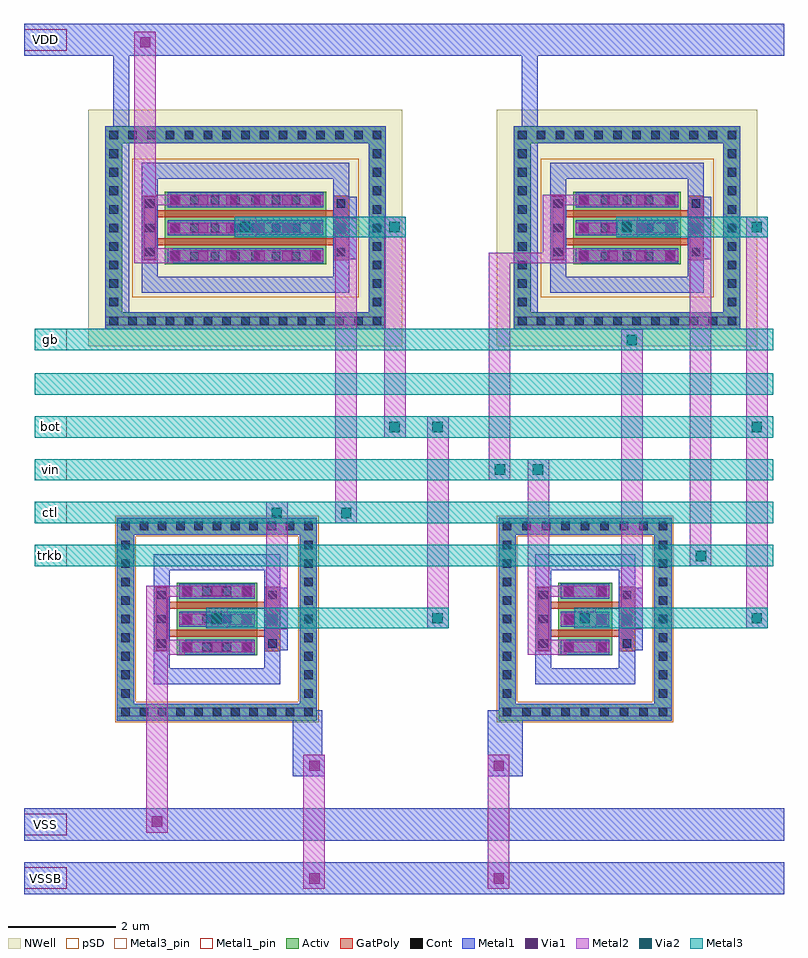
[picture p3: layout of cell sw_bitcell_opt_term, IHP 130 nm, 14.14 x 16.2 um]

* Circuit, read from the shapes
.subckt sw_bitcell_opt_term VDD VSS VSSB bot ctl gb trkb vin
XM1 bot ctl VSS VSSB sg13_lv_nmos w=1.5u l=0.13u m=2
XM2 bot gb vin VSSB sg13_lv_nmos w=1u l=0.13u m=2
XM3 bot ctl VDD VDD sg13_lv_pmos w=3u l=0.13u m=2
XM4 bot trkb vin VDD sg13_lv_pmos w=2u l=0.13u m=2
.ends

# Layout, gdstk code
import gdstk
lib = gdstk.Library(unit=1e-6, precision=1e-09)
def R(c, l, rs):  # rectangles x0, y0, x1, y1
    for r in rs: c.add(gdstk.rectangle(r[:2], r[2:], *l))
def A(c, l, x, y, w, h, nx, ny, dx, dy):  # array of equal rectangles
    R(c, l, [(x+i*dx, y+j*dy, x+i*dx+w, y+j*dy+h) for i in range(nx) for j in range(ny)])
def P(c, l, *ps):  # polygons
    for p in ps: c.add(gdstk.Polygon(p, *l))
Activ = (1, 0)
GatPoly = (5, 0)
Cont = (6, 0)
Metal1 = (8, 0)
Metal1_pin = (8, 2)
Metal2 = (10, 0)
pSD = (14, 0)
Via1 = (19, 0)
Via2 = (29, 0)
Metal3 = (30, 0)
Metal3_pin = (30, 2)
NWell = (31, 0)

rfnmos_5 = lib.new_cell('rfnmos$5')
R(rfnmos_5, Activ, [(1.14,1.245,2.64,2.595)])
P(rfnmos_5, Activ, [(0.03,0.03),(0.03,3.49),(0.35,3.49),(0.35,0.35),(3.43,0.35),(3.43,3.49),(0.03,3.49),(0.03,3.81),(3.75,3.81),(3.75,0.03)])
R(rfnmos_5, GatPoly, [(0.71,1.32,1.01,2.52), (2.77,1.32,3.07,2.52), (1.01,1.595,2.77,1.725), (1.01,2.115,2.77,2.245)])
A(rfnmos_5, Cont, 0.11, 0.11, 0.16, 0.16, 11, 2, 0.34, 3.46)
A(rfnmos_5, Cont, 0.11, 0.46, 0.16, 0.16, 1, 9, 0, 0.345)
A(rfnmos_5, Cont, 3.51, 0.46, 0.16, 0.16, 1, 9, 0, 0.345)
A(rfnmos_5, Cont, 1.24, 1.32, 0.16, 0.16, 4, 3, 0.38, 0.52)
A(rfnmos_5, Cont, 0.78, 1.39, 0.16, 0.16, 1, 3, 0, 0.45)
A(rfnmos_5, Cont, 2.84, 1.39, 0.16, 0.16, 1, 3, 0, 0.45)
A(rfnmos_5, Metal1, 1.19, 1.26, 1.4, 0.28, 1, 3, 0, 0.52)
R(rfnmos_5, Metal1, [(0.03,0.03,3.75,0.35), (0.03,0.35,0.35,3.49), (3.43,0.35,3.75,3.49), (0.76,1.34,0.96,2.5), (2.82,1.34,3.02,2.5), (0.03,3.49,3.75,3.81)])
P(rfnmos_5, Metal1, [(0.71,0.71),(0.71,2.83),(1.01,2.83),(1.01,1.01),(2.77,1.01),(2.77,2.83),(0.71,2.83),(0.71,3.13),(3.07,3.13),(3.07,0.71)])
R(rfnmos_5, Metal1_pin, [(0.03,0.11,3.75,0.27), (0.03,0.11,3.75,0.27), (1.19,1.26,2.59,1.54), (1.19,1.26,2.59,1.54), (0.76,1.34,0.96,2.5), (0.76,1.34,0.96,2.5), (1.19,1.78,2.59,2.06), (1.19,1.78,2.59,2.06)])
A(rfnmos_5, Metal2, 1.19, 1.3, 1.4, 0.2, 1, 3, 0, 0.52)
P(rfnmos_5, pSD, [(0,0),(0,3.46),(0.38,3.46),(0.38,0.38),(3.4,0.38),(3.4,3.46),(0,3.46),(0,3.84),(3.78,3.84),(3.78,0)])
A(rfnmos_5, Via1, 1.24, 1.305, 0.19, 0.19, 3, 3, 0.555, 0.52)
rfnmos_5.add(gdstk.Label('S', (1.89,1.42), layer=63, texttype=0))
rfnmos_5.add(gdstk.Label('D', (1.89,1.94), layer=63, texttype=0))
rfnmos_5.add(gdstk.Label('G', (0.86,1.92), layer=63, texttype=0))
rfnmos_5.add(gdstk.Label('TIE', (1.89,0.19), layer=63, texttype=0))
rfnmos_5.add(gdstk.Label('rfnmos', (1.89,3.65), layer=63, texttype=0))

rfpmos_4 = lib.new_cell('rfpmos$4')
R(rfpmos_4, Activ, [(1.42,1.525,4.42,2.875)])
P(rfpmos_4, Activ, [(0.31,0.31),(0.31,3.77),(0.63,3.77),(0.63,0.63),(5.21,0.63),(5.21,3.77),(0.31,3.77),(0.31,4.09),(5.53,4.09),(5.53,0.31)])
R(rfpmos_4, GatPoly, [(0.99,1.6,1.29,2.8), (4.55,1.6,4.85,2.8), (1.29,1.875,4.55,2.005), (1.29,2.395,4.55,2.525)])
A(rfpmos_4, Cont, 0.39, 0.39, 0.16, 0.16, 15, 2, 0.35, 3.46)
A(rfpmos_4, Cont, 0.39, 0.74, 0.16, 0.16, 1, 9, 0, 0.345)
A(rfpmos_4, Cont, 5.29, 0.74, 0.16, 0.16, 1, 9, 0, 0.345)
A(rfpmos_4, Cont, 1.52, 1.6, 0.16, 0.16, 3, 3, 0.375, 0.52)
A(rfpmos_4, Cont, 2.65, 1.6, 0.16, 0.16, 1, 3, 0, 0.52)
A(rfpmos_4, Cont, 3.025, 1.6, 0.16, 0.16, 1, 3, 0, 0.52)
A(rfpmos_4, Cont, 3.405, 1.6, 0.16, 0.16, 1, 3, 0, 0.52)
A(rfpmos_4, Cont, 3.78, 1.6, 0.16, 0.16, 1, 3, 0, 0.52)
A(rfpmos_4, Cont, 4.16, 1.6, 0.16, 0.16, 1, 3, 0, 0.52)
A(rfpmos_4, Cont, 1.06, 1.67, 0.16, 0.16, 1, 3, 0, 0.45)
A(rfpmos_4, Cont, 4.62, 1.67, 0.16, 0.16, 1, 3, 0, 0.45)
A(rfpmos_4, Metal1, 1.47, 1.54, 2.9, 0.28, 1, 3, 0, 0.52)
R(rfpmos_4, Metal1, [(0.31,0.31,5.53,0.63), (0.31,0.63,0.63,3.77), (5.21,0.63,5.53,3.77), (1.04,1.62,1.24,2.78), (4.6,1.62,4.8,2.78), (0.31,3.77,5.53,4.09)])
P(rfpmos_4, Metal1, [(0.99,0.99),(0.99,3.11),(1.29,3.11),(1.29,1.29),(4.55,1.29),(4.55,3.11),(0.99,3.11),(0.99,3.41),(4.85,3.41),(4.85,0.99)])
R(rfpmos_4, Metal1_pin, [(0.31,0.39,5.53,0.55), (0.31,0.39,5.53,0.55), (1.47,1.54,4.37,1.82), (1.47,1.54,4.37,1.82), (1.04,1.62,1.24,2.78), (1.04,1.62,1.24,2.78), (1.47,2.06,4.37,2.34), (1.47,2.06,4.37,2.34)])
A(rfpmos_4, Metal2, 1.47, 1.58, 2.9, 0.2, 1, 3, 0, 0.52)
R(rfpmos_4, pSD, [(0.81,0.91,5.03,3.49)])
A(rfpmos_4, Via1, 1.52, 1.585, 0.19, 0.19, 3, 3, 0.52, 0.52)
A(rfpmos_4, Via1, 3.085, 1.585, 0.19, 0.19, 1, 3, 0, 0.52)
A(rfpmos_4, Via1, 3.605, 1.585, 0.19, 0.19, 1, 3, 0, 0.52)
A(rfpmos_4, Via1, 4.13, 1.585, 0.19, 0.19, 1, 3, 0, 0.52)
R(rfpmos_4, NWell, [(0,0,5.84,4.4)])
rfpmos_4.add(gdstk.Label('S', (2.92,1.7), layer=63, texttype=0))
rfpmos_4.add(gdstk.Label('D', (2.92,2.22), layer=63, texttype=0))
rfpmos_4.add(gdstk.Label('G', (1.14,2.2), layer=63, texttype=0))
rfpmos_4.add(gdstk.Label('TIE', (2.92,0.47), layer=63, texttype=0))
rfpmos_4.add(gdstk.Label('rfpmos', (2.92,3.93), layer=63, texttype=0))

rfnmos_1_1 = lib.new_cell('rfnmos$1$1')
R(rfnmos_1_1, Activ, [(1.14,1.245,2.14,2.595)])
P(rfnmos_1_1, Activ, [(0.03,0.03),(0.03,3.49),(0.35,3.49),(0.35,0.35),(2.93,0.35),(2.93,3.49),(0.03,3.49),(0.03,3.81),(3.25,3.81),(3.25,0.03)])
R(rfnmos_1_1, GatPoly, [(0.71,1.32,1.01,2.52), (2.27,1.32,2.57,2.52), (1.01,1.595,2.27,1.725), (1.01,2.115,2.27,2.245)])
A(rfnmos_1_1, Cont, 0.11, 0.46, 0.16, 0.16, 1, 9, 0, 0.345)
A(rfnmos_1_1, Cont, 3.01, 0.46, 0.16, 0.16, 1, 9, 0, 0.345)
A(rfnmos_1_1, Cont, 1.24, 1.32, 0.16, 0.16, 1, 3, 0, 0.52)
A(rfnmos_1_1, Cont, 1.88, 1.32, 0.16, 0.16, 1, 3, 0, 0.52)
A(rfnmos_1_1, Cont, 0.78, 1.39, 0.16, 0.16, 1, 3, 0, 0.45)
A(rfnmos_1_1, Cont, 2.34, 1.39, 0.16, 0.16, 1, 3, 0, 0.45)
R(rfnmos_1_1, Cont, [(0.11,0.11,0.27,0.27), (0.47,0.11,0.63,0.27), (0.835,0.11,0.995,0.27), (1.195,0.11,1.355,0.27), (1.56,0.11,1.72,0.27), (1.92,0.11,2.08,0.27), (2.285,0.11,2.445,0.27), (2.645,0.11,2.805,0.27), (3.01,0.11,3.17,0.27), (0.11,3.57,0.27,3.73), (0.47,3.57,0.63,3.73), (0.835,3.57,0.995,3.73), (1.195,3.57,1.355,3.73), (1.56,3.57,1.72,3.73), (1.92,3.57,2.08,3.73), (2.285,3.57,2.445,3.73), (2.645,3.57,2.805,3.73), (3.01,3.57,3.17,3.73)])
A(rfnmos_1_1, Metal1, 1.19, 1.26, 0.9, 0.28, 1, 3, 0, 0.52)
R(rfnmos_1_1, Metal1, [(0.03,0.03,3.25,0.35), (0.03,0.35,0.35,3.49), (2.93,0.35,3.25,3.49), (0.76,1.34,0.96,2.5), (2.32,1.34,2.52,2.5), (0.03,3.49,3.25,3.81)])
P(rfnmos_1_1, Metal1, [(0.71,0.71),(0.71,2.83),(1.01,2.83),(1.01,1.01),(2.27,1.01),(2.27,2.83),(0.71,2.83),(0.71,3.13),(2.57,3.13),(2.57,0.71)])
R(rfnmos_1_1, Metal1_pin, [(0.03,0.11,3.25,0.27), (0.03,0.11,3.25,0.27), (1.19,1.26,2.09,1.54), (1.19,1.26,2.09,1.54), (0.76,1.34,0.96,2.5), (0.76,1.34,0.96,2.5), (1.19,1.78,2.09,2.06), (1.19,1.78,2.09,2.06)])
A(rfnmos_1_1, Metal2, 1.19, 1.3, 0.9, 0.2, 1, 3, 0, 0.52)
P(rfnmos_1_1, pSD, [(0,0),(0,3.46),(0.38,3.46),(0.38,0.38),(2.9,0.38),(2.9,3.46),(0,3.46),(0,3.84),(3.28,3.84),(3.28,0)])
A(rfnmos_1_1, Via1, 1.24, 1.305, 0.19, 0.19, 1, 3, 0, 0.52)
A(rfnmos_1_1, Via1, 1.85, 1.305, 0.19, 0.19, 1, 3, 0, 0.52)
rfnmos_1_1.add(gdstk.Label('S', (1.64,1.42), layer=63, texttype=0))
rfnmos_1_1.add(gdstk.Label('D', (1.64,1.94), layer=63, texttype=0))
rfnmos_1_1.add(gdstk.Label('G', (0.86,1.92), layer=63, texttype=0))
rfnmos_1_1.add(gdstk.Label('TIE', (1.64,0.19), layer=63, texttype=0))
rfnmos_1_1.add(gdstk.Label('rfnmos', (1.64,3.65), layer=63, texttype=0))

rfpmos_1_1 = lib.new_cell('rfpmos$1$1')
R(rfpmos_1_1, Activ, [(1.42,1.525,3.42,2.875)])
P(rfpmos_1_1, Activ, [(0.31,0.31),(0.31,3.77),(0.63,3.77),(0.63,0.63),(4.21,0.63),(4.21,3.77),(0.31,3.77),(0.31,4.09),(4.53,4.09),(4.53,0.31)])
R(rfpmos_1_1, GatPoly, [(0.99,1.6,1.29,2.8), (3.55,1.6,3.85,2.8), (1.29,1.875,3.55,2.005), (1.29,2.395,3.55,2.525)])
A(rfpmos_1_1, Cont, 0.74, 0.39, 0.16, 0.16, 11, 2, 0.355, 3.46)
A(rfpmos_1_1, Cont, 0.39, 0.74, 0.16, 0.16, 1, 9, 0, 0.345)
A(rfpmos_1_1, Cont, 4.29, 0.74, 0.16, 0.16, 1, 9, 0, 0.345)
A(rfpmos_1_1, Cont, 1.52, 1.6, 0.16, 0.16, 5, 3, 0.41, 0.52)
A(rfpmos_1_1, Cont, 1.06, 1.67, 0.16, 0.16, 1, 3, 0, 0.45)
A(rfpmos_1_1, Cont, 3.62, 1.67, 0.16, 0.16, 1, 3, 0, 0.45)
R(rfpmos_1_1, Cont, [(0.39,0.39,0.55,0.55), (0.39,3.85,0.55,4.01)])
A(rfpmos_1_1, Metal1, 1.47, 1.54, 1.9, 0.28, 1, 3, 0, 0.52)
R(rfpmos_1_1, Metal1, [(0.31,0.31,4.53,0.63), (0.31,0.63,0.63,3.77), (4.21,0.63,4.53,3.77), (1.04,1.62,1.24,2.78), (3.6,1.62,3.8,2.78), (0.31,3.77,4.53,4.09)])
P(rfpmos_1_1, Metal1, [(0.99,0.99),(0.99,3.11),(1.29,3.11),(1.29,1.29),(3.55,1.29),(3.55,3.11),(0.99,3.11),(0.99,3.41),(3.85,3.41),(3.85,0.99)])
R(rfpmos_1_1, Metal1_pin, [(0.31,0.39,4.53,0.55), (0.31,0.39,4.53,0.55), (1.47,1.54,3.37,1.82), (1.47,1.54,3.37,1.82), (1.04,1.62,1.24,2.78), (1.04,1.62,1.24,2.78), (1.47,2.06,3.37,2.34), (1.47,2.06,3.37,2.34)])
A(rfpmos_1_1, Metal2, 1.47, 1.58, 1.9, 0.2, 1, 3, 0, 0.52)
R(rfpmos_1_1, pSD, [(0.81,0.91,4.03,3.49)])
A(rfpmos_1_1, Via1, 1.52, 1.585, 0.19, 0.19, 3, 3, 0.535, 0.52)
A(rfpmos_1_1, Via1, 3.13, 1.585, 0.19, 0.19, 1, 3, 0, 0.52)
R(rfpmos_1_1, NWell, [(0,0,4.84,4.4)])
rfpmos_1_1.add(gdstk.Label('S', (2.42,1.7), layer=63, texttype=0))
rfpmos_1_1.add(gdstk.Label('D', (2.42,2.22), layer=63, texttype=0))
rfpmos_1_1.add(gdstk.Label('G', (1.14,2.2), layer=63, texttype=0))
rfpmos_1_1.add(gdstk.Label('TIE', (2.42,0.47), layer=63, texttype=0))
rfpmos_1_1.add(gdstk.Label('rfpmos', (2.42,3.93), layer=63, texttype=0))

sw_bitcell_opt_term = lib.new_cell('sw_bitcell_opt_term')
R(sw_bitcell_opt_term, Metal1, [(-1.2,-3.2,12.94,-2.6), (4,-3.1,4.4,-2.7), (7.43,-3.1,7.83,-2.7), (-1.2,-2.2,12.94,-1.6), (1.07,-2.05,1.47,-1.65), (3.8,-1,4.35,0.23), (4,-1,4.4,-0.6), (7.43,-1,7.83,-0.6), (7.43,-1,8.08,0.23), (3.31,1.34,3.71,2.5), (9.91,1.34,10.31,2.5), (0.46,7.44,0.76,12.4), (8.06,7.44,8.36,12.4), (4.59,8.62,4.99,9.78), (11.19,8.62,11.59,9.78), (-1.2,12.4,12.94,13), (0.85,12.45,1.25,12.85)])
R(sw_bitcell_opt_term, Metal1_pin, [(-1.2,-3.1,-0.4,-2.7), (-1.2,-2.1,-0.4,-1.7), (-1.2,12.5,-0.4,12.9)])
R(sw_bitcell_opt_term, Metal2, [(4,-3.1,4.4,-2.7), (7.43,-3.1,7.83,-2.7), (4,-2.9,4.4,-0.8), (7.43,-2.9,7.83,-0.8), (1.07,-2.05,1.47,-1.65), (1.07,-1.9,1.47,1.46), (4,-1,4.4,-0.6), (7.43,-1,7.83,-0.6), (1.07,1.26,1.79,1.54), (1.07,1.26,1.47,2.54), (8.17,1.26,8.89,1.54), (8.17,1.26,8.57,2.54), (3.31,1.73,3.71,2.11), (9.91,1.73,10.31,2.11), (2.19,1.75,2.59,2.13), (6.3,1.75,6.7,2.13), (9.04,1.75,9.44,2.13), (12.24,1.75,12.64,2.13), (3.31,1.92,3.71,3.9), (9.91,1.92,10.31,7.12), (6.3,1.94,6.7,5.5), (12.24,1.94,12.64,5.5), (1.07,2.34,1.79,2.54), (8.17,2.34,8.89,2.54), (8.17,2.4,8.57,4.9), (11.19,2.9,11.59,3.3), (11.19,3.1,11.59,9.2), (3.31,3.7,3.71,4.1), (4.59,3.7,4.99,4.1), (4.59,3.9,4.99,9.2), (7.45,4.5,7.85,4.9), (7.45,4.5,7.85,8.74), (8.17,4.5,8.57,4.9), (5.5,5.3,5.9,5.7), (6.3,5.3,6.7,5.7), (12.24,5.3,12.64,5.7), (12.24,5.3,12.64,5.7), (5.5,5.5,5.9,9.22), (12.24,5.5,12.64,9.22), (9.91,6.93,10.31,7.31), (0.85,8.54,1.57,8.82), (0.85,8.54,1.25,9.82), (7.45,8.54,8.85,8.74), (8.45,8.54,9.17,8.82), (8.45,8.54,8.85,9.82), (4.59,9.01,4.99,9.39), (11.19,9.01,11.59,9.39), (2.72,9.03,3.12,9.41), (5.5,9.03,5.9,9.41), (9.82,9.03,10.22,9.41), (12.24,9.03,12.64,9.41), (0.85,9.62,1.57,9.82), (0.85,9.62,1.25,12.7), (8.45,9.62,9.17,9.82), (0.85,12.45,1.25,12.85)])
R(sw_bitcell_opt_term, Via1, [(4.11,-3,4.3,-2.81), (7.54,-3,7.73,-2.81), (1.18,-1.94,1.37,-1.75), (4.11,-0.9,4.3,-0.71), (7.54,-0.9,7.73,-0.71), (3.32,1.82,3.51,2.01), (9.92,1.82,10.11,2.01), (4.6,9.1,4.79,9.29), (11.2,9.1,11.39,9.29), (0.96,12.56,1.15,12.75)])
R(sw_bitcell_opt_term, Via2, [(2.29,1.84,2.48,2.03), (6.4,1.84,6.59,2.03), (9.14,1.84,9.33,2.03), (12.34,1.84,12.53,2.03), (11.3,3,11.49,3.19), (3.41,3.8,3.6,3.99), (4.7,3.8,4.89,3.99), (7.56,4.61,7.75,4.8), (8.27,4.61,8.46,4.8), (5.6,5.4,5.79,5.59), (6.4,5.4,6.59,5.59), (12.34,5.4,12.53,5.59), (12.34,5.4,12.53,5.59), (10.01,7.02,10.2,7.21), (2.82,9.12,3.01,9.31), (5.6,9.12,5.79,9.31), (9.92,9.12,10.11,9.31), (12.34,9.12,12.53,9.31)])
A(sw_bitcell_opt_term, Metal3, -1, 2.9, 13.74, 0.4, 1, 5, 0, 0.8)
R(sw_bitcell_opt_term, Metal3, [(2.19,1.75,6.7,2.13), (2.19,1.75,2.59,2.13), (6.3,1.75,6.7,2.13), (9.04,1.75,9.44,2.13), (9.04,1.75,12.64,2.13), (12.24,1.75,12.64,2.13), (11.19,2.9,11.59,3.3), (3.31,3.7,3.71,4.1), (4.59,3.7,4.99,4.1), (7.45,4.5,7.85,4.9), (8.17,4.5,8.57,4.9), (5.5,5.3,5.9,5.7), (6.3,5.3,6.7,5.7), (12.24,5.3,12.64,5.7), (12.24,5.3,12.64,5.7), (-1,6.92,12.74,7.32), (9.91,6.93,10.31,7.31), (2.72,9.03,3.12,9.41), (2.72,9.03,5.9,9.41), (5.5,9.03,5.9,9.41), (9.82,9.03,10.22,9.41), (9.82,9.03,12.64,9.41), (12.24,9.03,12.64,9.41)])
A(sw_bitcell_opt_term, Metal3_pin, -1, 2.9, 0.6, 0.4, 1, 4, 0, 0.8)
R(sw_bitcell_opt_term, Metal3_pin, [(-1,6.92,-0.4,7.32)])
sw_bitcell_opt_term.add(gdstk.Reference(rfnmos_5, (0.5,0)))
sw_bitcell_opt_term.add(gdstk.Reference(rfpmos_4, (0,7)))
sw_bitcell_opt_term.add(gdstk.Reference(rfnmos_1_1, (7.6,0)))
sw_bitcell_opt_term.add(gdstk.Reference(rfpmos_1_1, (7.6,7)))
sw_bitcell_opt_term.add(gdstk.Label('VSS', (-0.8,-1.9), layer=8, texttype=25))
sw_bitcell_opt_term.add(gdstk.Label('VSSB', (-0.8,-2.9), layer=8, texttype=25))
sw_bitcell_opt_term.add(gdstk.Label('VDD', (-0.8,12.7), layer=8, texttype=25))
sw_bitcell_opt_term.add(gdstk.Label('bot', (-0.7,5.5), layer=30, texttype=25))
sw_bitcell_opt_term.add(gdstk.Label('vin', (-0.7,4.7), layer=30, texttype=25))
sw_bitcell_opt_term.add(gdstk.Label('ctl', (-0.7,3.9), layer=30, texttype=25))
sw_bitcell_opt_term.add(gdstk.Label('trkb', (-0.7,3.1), layer=30, texttype=25))
sw_bitcell_opt_term.add(gdstk.Label('gb', (-0.7,7.12), layer=30, texttype=25))

lib.write_gds('sw_bitcell_opt_term.gds')
